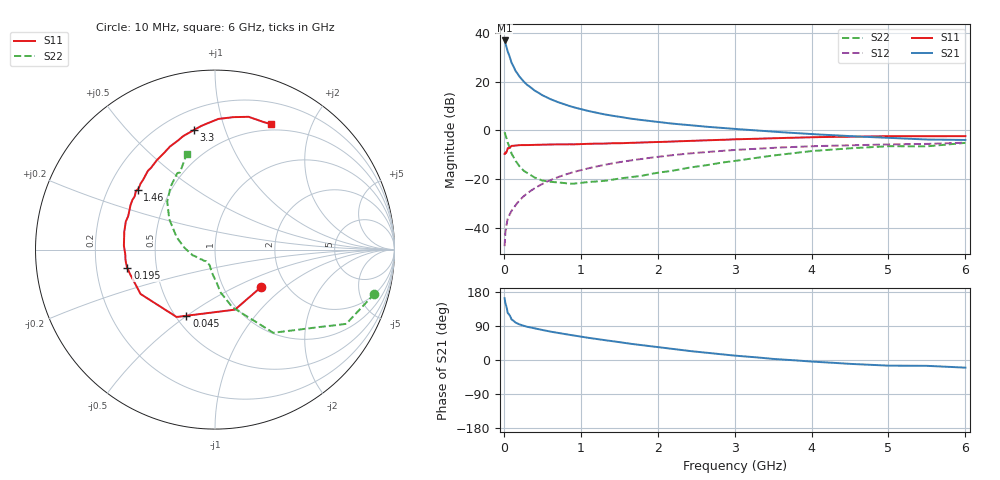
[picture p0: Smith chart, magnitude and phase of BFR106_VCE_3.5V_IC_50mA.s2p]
! (c) 2015  Infineon Technologies AG, Munich
! Infineon Technologies  Discrete & RF Semiconductors
! BFR106
! VCE =  3.5 V,  IC =  50 mA
! Common Emitter S-Parameters:  Nov 2015
# GHz  S  MA  R  50
!  f  S11  S21  S12  S22
! GHz  MAG  ANG  MAG  ANG  MAG  ANG  MAG  ANG
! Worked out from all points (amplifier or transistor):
!   210 points, 10 MHz to 6 GHz, reference 50 ohm
!   highest |S21| = 37.0 dB at 10 MHz (marker M1)
!   |S21| within 3 dB of that: start of sweep to 37.03 MHz
!   unconditionally stable (mu >= 1): 250.6 MHz to 2.369 GHz
!   at 185 MHz: K = 0.94, MSG = 26.2 dB, |S12| = -29.4 dB
!   at 1.52 GHz: K = 1.05, MAG = 7.9 dB, |S12| = -12.9 dB
!   at 6 GHz: K = 0.99, MSG = 0.6 dB, |S12| = -5.0 dB
!   S11 on the Smith chart (normalised r, x): 10 MHz: 1.48, -0.70; 45 MHz: 0.57, -0.50; 195 MHz: 0.34, -0.09; 1.46 GHz: 0.32, +0.31; 3.3 GHz: 0.32, +0.79; 6 GHz: 0.43, +1.45
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0.01  0.3303 -39.6  70.62 163.1  0.0042 80.0  0.922 -15.5
0.02  0.3526 -71.6  63.34 149.7  0.008 70.2  0.84 -29.5
0.045  0.4017 -113.4  44.78 130.1  0.014 61.3  0.6008 -49.2
0.05  0.4321 -119.7  42.02 124.3  0.0152 60.4  0.5657 -55.0
0.1  0.4829 -149.2  24.61 107.1  0.0223 60.6  0.3353 -73.2
0.15  0.4903 -162.1  16.96 98.8  0.0288 64.3  0.2392 -82.8
0.195  0.4989 -167.9  13.36 94.7  0.0353 67.4  0.1917 -86.4
0.2  0.5002 -168.5  12.97 94.1  0.036 67.7  0.1865 -86.9
0.24  0.5016 -172.2  10.91 91.3  0.0419 68.9  0.1584 -91.2
0.3  0.5004 -176.7  8.718 87.7  0.0506 70.5  0.1346 -96.2
0.4  0.5081 177.5  6.604 83.2  0.0649 71.3  0.108 -103.0
0.5  0.51 173.0  5.302 79.1  0.0795 71.5  0.0936 -107.8
0.6  0.5153 168.8  4.443 75.1  0.0947 71.1  0.0884 -112.4
0.7  0.5177 165.3  3.837 71.4  0.1092 70.2  0.086 -118.0
1.02  0.5258 154.7  2.691 61.1  0.1557 66.5  0.0845 -131.2
1.46  0.5462 142.2  1.957 48.3  0.2174 60.2  0.1005 -148.9
2.02  0.5799 127.5  1.481 33.4  0.2898 51.6  0.1369 -170.5
3.1  0.6633 103.5  1.049 10.0  0.4058 34.5  0.2492 155.8
3.3  0.6769 99.9  0.995 6.7  0.4233 31.5  0.2765 150.6
4.1  0.7311 87.2  0.826 -5.2  0.4791 19.5  0.3869 132.7
5.1  0.7618 74.6  0.694 -15.0  0.5192 7.2  0.4747 115.8
6  0.7652 66.1  0.638 -20.2  0.5615 -2.3  0.5565 106.5
